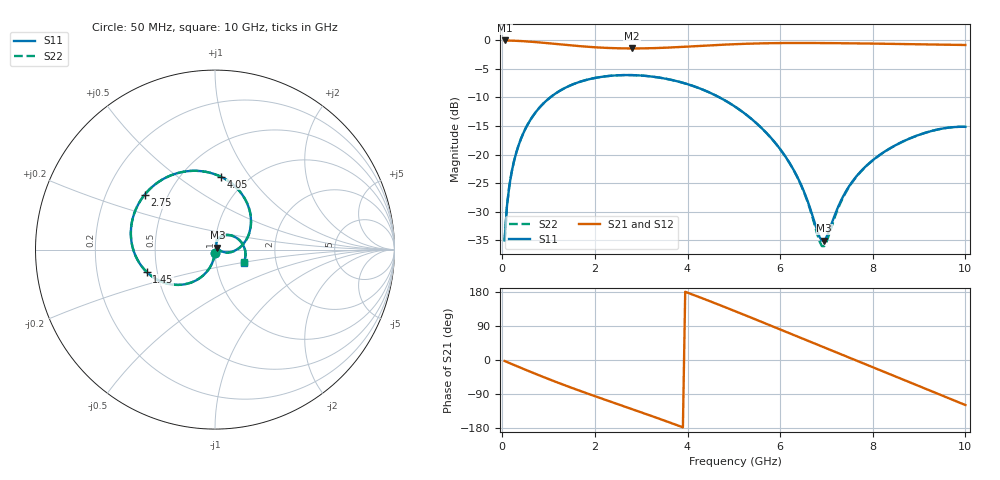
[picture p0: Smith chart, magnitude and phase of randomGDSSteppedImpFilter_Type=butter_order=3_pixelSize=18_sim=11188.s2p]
! freq	dB(S11)	phase(S11)	dB(S12)	phase(S12)
!  dB(S21)	phase(S21)	dB(S22)	phase(S22)
!S-par simulation data
#  GHz  S  DB  R 50
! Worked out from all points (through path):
!   200 points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, 50 MHz to 10 GHz, reference 50 ohm
!   highest |S21| = -0.01 dB at 50 MHz (marker M1); lowest = -1.4 dB at 2.8 GHz (marker M2)
!   group delay of S21, straight-line fit = 132 ps
!   lowest |S11| = -35.1 dB at 6.95 GHz (marker M3), VSWR 1.04, Z = 51.4 + j1.14 ohm
!   |S11| at or under -10 dB: start of sweep to 1.033 GHz; 4.693 GHz to end of sweep
!   |S22| runs from -36.1 to -6.1 dB; largest |S21 - S12| = 0
!   S11 on the Smith chart (normalised r, x): 50 MHz: 1.00, -0.04; 1.45 GHz: 0.44, -0.13; 2.75 GHz: 0.37, +0.30; 4.05 GHz: 0.76, +0.74; 10 GHz: 1.36, -0.20
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0.05  -35.07 -92.5  -0.01 -2.6  -0.01 -2.6  -35.07 -92.5
0.1  -29.09 -95.4  -0.01 -5.2  -0.01 -5.2  -29.09 -95.4
0.2  -23.16 -100.7  -0.04 -10.4  -0.04 -10.4  -23.16 -100.7
0.45  -16.34 -113.7  -0.13 -23.2  -0.13 -23.2  -16.34 -113.7
0.85  -11.36 -133.6  -0.38 -43.1  -0.38 -43.1  -11.36 -133.6
1.45  -7.95 -161.8  -0.85 -71.2  -0.85 -71.2  -7.95 -161.8
1.75  -7.07 -175.2  -1.06 -84.6  -1.06 -84.6  -7.07 -175.2
2.75  -6.07 142.1  -1.41 -127.4  -1.41 -127.4  -6.07 142.0
2.8  -6.08 140.0  -1.41 -129.6  -1.41 -129.6  -6.08 139.9
3.4  -6.53 114.3  -1.32 -155.4  -1.32 -155.4  -6.53 114.2
4.05  -7.79 85.5  -1.06 175.4  -1.06 175.4  -7.79 85.4
4.55  -9.41 62.6  -0.84 152.0  -0.84 152.0  -9.42 62.5
5.05  -11.74 39.3  -0.65 127.8  -0.65 127.8  -11.74 39.1
5.85  -17.53 3.3  -0.48 88.1  -0.48 88.1  -17.54 2.7
6.35  -23.60 -13.8  -0.45 63.2  -0.45 63.2  -23.64 -15.2
6.7  -30.75 -9.4  -0.45 45.7  -0.45 45.7  -31.05 -12.5
6.95  -35.09 39.2  -0.46 33.2  -0.46 33.2  -36.06 39.9
7.5  -25.43 75.7  -0.51 5.8  -0.51 5.8  -25.54 77.8
7.9  -21.68 63.5  -0.54 -14.1  -0.54 -14.1  -21.73 64.9
8.35  -19.02 45.8  -0.59 -36.5  -0.59 -36.5  -19.04 46.9
9.2  -16.03 9.8  -0.71 -78.8  -0.71 -78.8  -16.03 10.7
10  -15.15 -24.4  -0.80 -118.8  -0.80 -118.8  -15.14 -23.6
